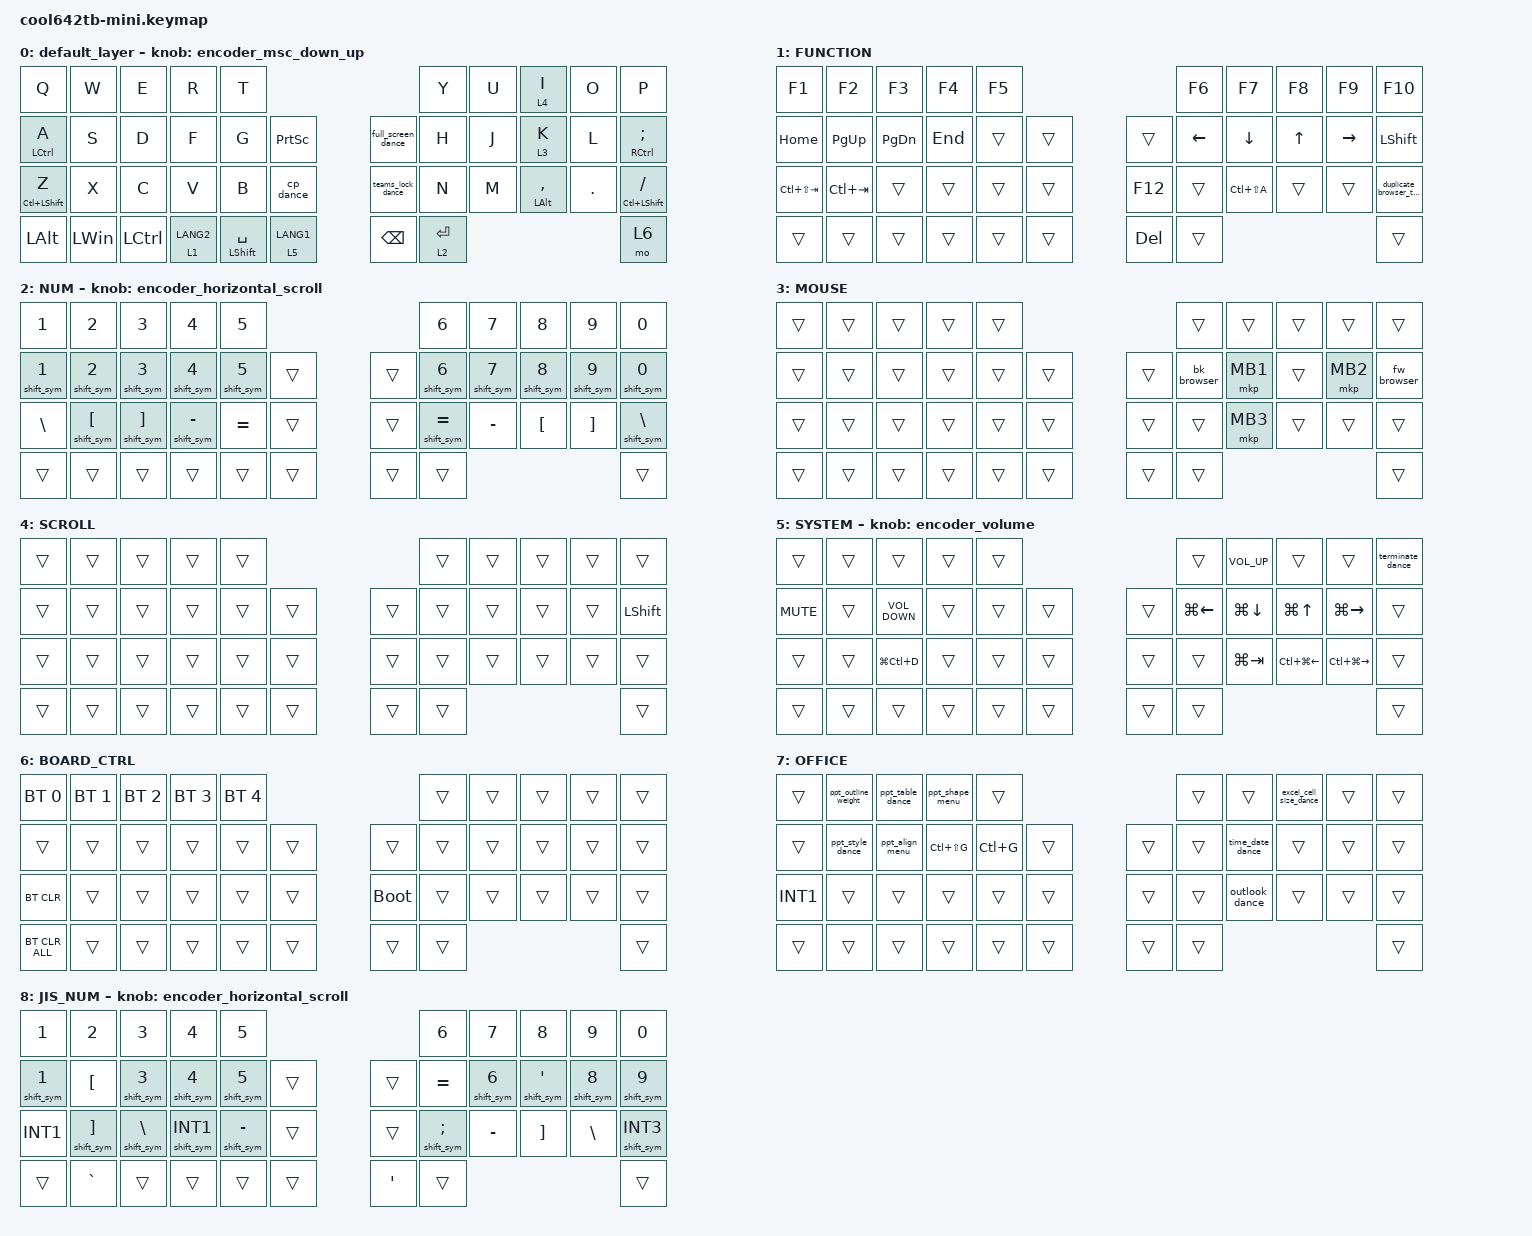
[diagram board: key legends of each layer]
#define ZMK_POINTING_DEFAULT_SCRL_VAL 80

#include <behaviors.dtsi>
#include <dt-bindings/zmk/bt.h>
#include <dt-bindings/zmk/keys.h>
#include <dt-bindings/zmk/pointing.h>

&mt {
    flavor = "balanced";
    tapping-term-ms = <180>;
};

&lt {
    flavor = "hold-preferred";
    tapping-term-ms = <180>;
};

/ {
    combos {
        compatible = "zmk,combos";

        grave {
            bindings = <&kp GRAVE>;
            key-positions = <8 9>;
        };

        single_quote {
            bindings = <&kp SQT>;
            key-positions = <20 21>;
        };

        esc {
            bindings = <&kp ESC>;
            key-positions = <32 33>;
        };

        shift_tab {
            bindings = <&kp LS(TAB)>;
            key-positions = <2 3>;
            timeout-ms = <30>;
            require-prior-idle-ms = <200>;
        };

        quit {
            bindings = <&sys_window_terminate>;
            key-positions = <0 9>;
        };

        tab {
            bindings = <&kp TAB>;
            key-positions = <1 2>;
        };

        modify {
            bindings = <&mo 7>;
            key-positions = <37 41>;
            timeout-ms = <150>;
        };

        jis_num {
            bindings = <&mo 8>;
            key-positions = <39 41>;
            timeout-ms = <150>;
        };
    };

    macros {
        shift_sym: shift_sym {
            compatible = "zmk,behavior-macro-one-param";
            #binding-cells = <1>;
            wait-ms = <50>;
            tap-ms = <50>;
            label = "SHIFT_SYM";
            bindings
                = <&macro_press &kp LSHFT>
                , <&macro_param_1to1>
                , <&macro_tap &kp MACRO_PLACEHOLDER>
                , <&macro_release &kp LSHFT>;
        };

        duplicate_browser_tab: duplicate_browser_tab {
            compatible = "zmk,behavior-macro";
            #binding-cells = <0>;
            bindings =
                <&macro_press>,
                <&kp LALT>,
                <&macro_press>,
                <&kp D>,
                <&macro_release>,
                <&kp D>,
                <&macro_press>,
                <&kp ENTER>,
                <&macro_release>,
                <&kp ENTER>,
                <&macro_release>,
                <&kp LALT>;

            label = "DUPLICATE_BROWSER_TAB";
            tap-ms = <100>;
        };

        bk_browser: bk_browser {
            compatible = "zmk,behavior-macro";
            #binding-cells = <0>;
            bindings =
                <&macro_press>,
                <&kp LALT>,
                <&macro_press>,
                <&kp LEFT_ARROW>,
                <&macro_release>,
                <&kp LEFT_ARROW>,
                <&macro_release>,
                <&kp LALT>;

            label = "BK_BROWSER";
            tap-ms = <100>;
        };

        fw_browser: fw_browser {
            compatible = "zmk,behavior-macro";
            #binding-cells = <0>;
            bindings =
                <&macro_press>,
                <&kp LALT>,
                <&macro_press>,
                <&kp RIGHT_ARROW>,
                <&macro_release>,
                <&kp RIGHT_ARROW>,
                <&macro_release>,
                <&kp LALT>;

            label = "FW_BROWSER";
            tap-ms = <100>;
        };

        rdp_fullscreen: rdp_fullscreen {
            compatible = "zmk,behavior-macro";
            #binding-cells = <0>;
            bindings =
                <&macro_press>,
                <&kp LALT>,
                <&macro_press>,
                <&kp LCTRL>,
                <&macro_press>,
                <&kp HOME>,
                <&macro_release>,
                <&kp HOME>,
                <&macro_release>,
                <&kp LCTRL>,
                <&macro_release>,
                <&kp LALT>;

            label = "RDP_FULLSCREEN";
            tap-ms = <100>;
        };

        cp_path_open: cp_path_open {
            compatible = "zmk,behavior-macro";
            #binding-cells = <0>;
            bindings
                = <&mkp MB1 &mkp MB1 &mkp MB1 &kp LC(C)>
                , <&macro_wait_time 400>
                , <&kp LG(R)>
                , <&macro_wait_time 500>
                , <&kp LC(V)>
                , <&macro_wait_time 100>
                , <&kp ENTER>;

            label = "CP_PATH_OPEN";
            wait-ms = <40>;
            tap-ms = <40>;
        };

        cp_line: cp_line {
            compatible = "zmk,behavior-macro";
            #binding-cells = <0>;
            bindings = <&mkp MB1 &mkp MB1 &mkp MB1 &kp LC(C)>;
            label = "CP_LINE";
        };

        cp_word: cp_word {
            compatible = "zmk,behavior-macro";
            #binding-cells = <0>;
            bindings = <&mkp MB1 &mkp MB1 &kp LC(C)>;
            label = "CP_WORD";
        };

        sys_terminate_rdp: sys_terminate {
            compatible = "zmk,behavior-macro";
            #binding-cells = <0>;
            bindings =
                <&macro_press>,
                <&kp LALT>,
                <&macro_press>,
                <&kp LCTRL>,
                <&macro_press>,
                <&kp END>,
                <&macro_release>,
                <&kp END>,
                <&macro_release>,
                <&kp LCTRL>,
                <&macro_release>,
                <&kp LALT>;

            label = "SYS_TERMINATE";
            tap-ms = <100>;
        };

        sys_window_terminate: sys_window_terminate {
            compatible = "zmk,behavior-macro";
            #binding-cells = <0>;
            bindings =
                <&macro_press>,
                <&kp LALT>,
                <&macro_press>,
                <&kp F4>,
                <&macro_release>,
                <&kp F4>,
                <&macro_release>,
                <&kp LALT>;

            label = "SYS_WINDOW_TERMINATE";
            tap-ms = <100>;
        };

        ppt_align_menu: ppt_align_menu {
            compatible = "zmk,behavior-macro";
            #binding-cells = <0>;
            bindings =
                <&macro_press>,
                <&kp LALT>,
                <&macro_tap>,
                <&kp H>,
                <&macro_tap>,
                <&kp G>,
                <&macro_tap>,
                <&kp A>,
                <&macro_release>,
                <&kp LALT>;

            label = "PPT_ALIGN_MENU";
            tap-ms = <100>;
        };

        ppt_outline_menu: ppt_outline_menu {
            compatible = "zmk,behavior-macro";
            #binding-cells = <0>;
            bindings =
                <&macro_press>,
                <&kp LALT>,
                <&macro_tap>,
                <&kp H>,
                <&macro_tap>,
                <&kp S>,
                <&macro_tap>,
                <&kp O>,
                <&macro_release>,
                <&kp LALT>;

            label = "PPT_OUTLINE_MENU";
            tap-ms = <100>;
        };

        ppt_fill_menu: ppt_fill_menu {
            compatible = "zmk,behavior-macro";
            #binding-cells = <0>;
            bindings =
                <&macro_press>,
                <&kp LALT>,
                <&macro_tap>,
                <&kp H>,
                <&macro_tap>,
                <&kp S>,
                <&macro_tap>,
                <&kp F>,
                <&macro_release>,
                <&kp LALT>;

            label = "PPT_FILL_MENU";
            tap-ms = <100>;
        };

        ppt_outline_weight: ppt_outline_weight {
            compatible = "zmk,behavior-macro";
            #binding-cells = <0>;
            bindings =
                <&macro_press>,
                <&kp LALT>,
                <&macro_tap>,
                <&kp H>,
                <&macro_tap>,
                <&kp S>,
                <&macro_tap>,
                <&kp O>,
                <&macro_tap>,
                <&kp W>,
                <&macro_release>,
                <&kp LALT>;

            label = "PPT_OUTLINE_WEIGHT";
            tap-ms = <100>;
        };

        ppt_table_dist_rows: ppt_table_dist_rows {
            compatible = "zmk,behavior-macro";
            #binding-cells = <0>;
            bindings =
                <&macro_press>,
                <&kp LALT>,
                <&macro_tap>,
                <&kp J>,
                <&macro_tap>,
                <&kp L>,
                <&macro_tap>,
                <&kp U>,
                <&macro_tap>,
                <&kp R>,
                <&macro_release>,
                <&kp LALT>;

            label = "PPT_TABLE_DIST_ROWS";
            tap-ms = <100>;
        };

        ppt_table_dist_cols: ppt_table_dist_cols {
            compatible = "zmk,behavior-macro";
            #binding-cells = <0>;
            bindings =
                <&macro_press>,
                <&kp LALT>,
                <&macro_tap>,
                <&kp J>,
                <&macro_tap>,
                <&kp L>,
                <&macro_tap>,
                <&kp U>,
                <&macro_tap>,
                <&kp C>,
                <&macro_release>,
                <&kp LALT>;

            label = "PPT_TABLE_DIST_COLS";
            tap-ms = <100>;
        };

        ppt_shape_menu: ppt_shape_menu {
            compatible = "zmk,behavior-macro";
            #binding-cells = <0>;
            bindings =
                <&macro_press>,
                <&kp LALT>,
                <&macro_tap>,
                <&kp H>,
                <&macro_tap>,
                <&kp S>,
                <&macro_tap>,
                <&kp H>,
                <&macro_release>,
                <&kp LALT>;

            label = "PPT_SHAPE_MENU";
            tap-ms = <100>;
        };

        excel_col_width_auto: excel_col_width_auto {
            compatible = "zmk,behavior-macro";
            #binding-cells = <0>;
            bindings =
                <&macro_press>,
                <&kp LALT>,
                <&macro_tap>,
                <&kp H>,
                <&macro_tap>,
                <&kp O>,
                <&macro_tap>,
                <&kp A>,
                <&macro_release>,
                <&kp LALT>;

            label = "EXCEL_COL_WIDTH_AUTO";
            tap-ms = <100>;
        };

        excel_row_height_auto: excel_row_height_auto {
            compatible = "zmk,behavior-macro";
            #binding-cells = <0>;
            bindings =
                <&macro_press>,
                <&kp LALT>,
                <&macro_tap>,
                <&kp H>,
                <&macro_tap>,
                <&kp O>,
                <&macro_tap>,
                <&kp I>,
                <&macro_release>,
                <&kp LALT>;

            label = "EXCEL_ROW_HEIGHT_AUTO";
            tap-ms = <100>;
        };
    };

    behaviors {
        encoder_msc_down_up: encoder_msc_down_up {
            compatible = "zmk,behavior-sensor-rotate";
            label = "ENCODER_MSC_DOWN_UP";
            #sensor-binding-cells = <0>;
            bindings = <&msc SCRL_UP>, <&msc SCRL_DOWN>;
            tap-ms = <20>;
        };

        encoder_horizontal_scroll: encoder_horizontal_scroll {
            compatible = "zmk,behavior-sensor-rotate";
            label = "ENCODER_HORIZONTAL_SCROLL";
            #sensor-binding-cells = <0>;
            bindings = <&msc SCRL_LEFT>, <&msc SCRL_RIGHT>;
            tap-ms = <20>;
        };

        encoder_volume: encoder_volume {
            compatible = "zmk,behavior-sensor-rotate";
            label = "ENCODER_VOLUME";
            #sensor-binding-cells = <0>;
            bindings = <&kp C_VOLUME_UP>, <&kp C_VOLUME_DOWN>;
            tap-ms = <20>;
        };

        cp_dance: cp_dance {
            compatible = "zmk,behavior-tap-dance";
            label = "CP_DANCE";
            #binding-cells = <0>;
            tapping-term-ms = <500>;
            bindings = <&cp_word>, <&cp_line>, <&cp_path_open>;
        };

        teams_lock_dance: teams_lock_dance {
            compatible = "zmk,behavior-tap-dance";
            label = "TEAMS_LOCK_DANCE";
            #binding-cells = <0>;
            tapping-term-ms = <500>;
            bindings =
                <&kp LC(LS(X))>,
                <&kp LC(LS(M))>,
                <&kp LG(L)>;
        };

        mod_mt: mod_mt {
            compatible = "zmk,behavior-hold-tap";
            label = "MOD_MT";
            bindings = <&kp>, <&kp>;

            #binding-cells = <2>;
            flavor = "balanced";
            tapping-term-ms = <200>;
            require-prior-idle-ms = <100>;
        };

        mod_mt_left: mod_mt_left {
            compatible = "zmk,behavior-hold-tap";
            label = "MOD_MT_LEFT";
            bindings = <&kp>, <&kp>;

            #binding-cells = <2>;
            flavor = "balanced";
            tapping-term-ms = <200>;
            require-prior-idle-ms = <100>;
            hold-trigger-key-positions = <5 6 7 8 9 16 17 18 19 20 21 28 29 30 31 32 33 40 41 42>;
            hold-trigger-on-release;
        };

        a_mt: a_mt {
            compatible = "zmk,behavior-hold-tap";
            label = "A_MT";
            bindings = <&kp>, <&kp>;

            #binding-cells = <2>;
            flavor = "balanced";
            tapping-term-ms = <2147483647>;
            quick-tap-ms = <175>;
            require-prior-idle-ms = <150>;
            hold-trigger-key-positions = <5 6 7 8 9 16 17 18 19 20 21 28 29 30 31 32 33 40 41 42>;
            hold-trigger-on-release;
        };

        tap_pref_lt: tap_pref_lt {
            compatible = "zmk,behavior-hold-tap";
            label = "TAP_PREF_LT";
            bindings = <&mo>, <&kp>;

            #binding-cells = <2>;
            tapping-term-ms = <225>;
            flavor = "balanced";
        };

        full_screen_dance: full_screen_dance {
            compatible = "zmk,behavior-tap-dance";
            label = "FULL_SCREEN_DANCE";
            #binding-cells = <0>;
            tapping-term-ms = <500>;
            bindings = <&kp F11>, <&rdp_fullscreen>;
        };

        hold_pref_mt: hold_pref_mt {
            compatible = "zmk,behavior-hold-tap";
            label = "HOLD_PREF_MT";
            bindings = <&kp>, <&kp>;

            #binding-cells = <2>;
            flavor = "hold-preferred";
            tapping-term-ms = <185>;
        };

        terminate_dance: terminate_dance {
            compatible = "zmk,behavior-tap-dance";
            label = "TERMINATE_DANCE";
            #binding-cells = <0>;
            tapping-term-ms = <500>;
            bindings = <&kp LA(LC(DEL))>, <&sys_terminate_rdp>, <&cp_path_open>;
        };

        ppt_style_dance: ppt_style_dance {
            compatible = "zmk,behavior-tap-dance";
            label = "PPT_STYLE_DANCE";
            #binding-cells = <0>;
            tapping-term-ms = <500>;
            bindings = <&ppt_outline_menu>, <&ppt_fill_menu>;
        };

        ppt_table_dance: ppt_table_dance {
            compatible = "zmk,behavior-tap-dance";
            label = "PPT_TABLE_DANCE";
            #binding-cells = <0>;
            tapping-term-ms = <500>;
            bindings = <&ppt_table_dist_cols>, <&ppt_table_dist_rows>;
        };

        excel_cell_size_dance: excel_cell_size_dance {
            compatible = "zmk,behavior-tap-dance";
            label = "EXCEL_CELL_SIZE_DANCE";
            #binding-cells = <0>;
            tapping-term-ms = <500>;
            bindings = <&excel_col_width_auto>, <&excel_row_height_auto>;
        };

        time_date_dance: time_date_dance {
            compatible = "zmk,behavior-tap-dance";
            label = "TIME_DATE_DANCE";
            #binding-cells = <0>;
            tapping-term-ms = <500>;
            bindings = <&kp LC(LS(SEMI))>, <&kp LC(SEMI)>;
        };

        outlook_dance: outlook_dance {
            compatible = "zmk,behavior-tap-dance";
            label = "OUTLOOK_DANCE";
            #binding-cells = <0>;
            tapping-term-ms = <500>;
            bindings = <&kp LC(N1)>, <&kp LC(N2)>, <&kp LC(N3)>;
        };
    };

    keymap {
        compatible = "zmk,keymap";

        default_layer {
            bindings = <
&kp Q                          &kp W         &kp E       &kp R        &kp T                                                               &kp Y        &kp U                    &tap_pref_lt 4 I         &kp O    &kp P
&a_mt LCTRL A                  &kp S         &kp D       &kp F        &kp G                       &kp PRINTSCREEN      &full_screen_dance  &kp H        &kp J                    &tap_pref_lt 3 K         &kp L    &mod_mt RCTRL SEMI
&mod_mt_left LC(LEFT_SHIFT) Z  &kp X         &kp C       &kp V        &kp B                       &cp_dance            &teams_lock_dance  &kp N        &kp M                    &mod_mt LALT COMMA       &kp DOT  &mod_mt LC(LEFT_SHIFT) SLASH
&kp LALT                       &kp LEFT_WIN  &kp LCTRL  &lt 1 LANG2  &hold_pref_mt LSHIFT SPACE  &lt 5 LANG1          &kp BACKSPACE       &lt 2 ENTER                                                             &mo 6
            >;

            sensor-bindings = <&encoder_msc_down_up>;
        };

        FUNCTION {
            bindings = <
&kp F1           &kp F2       &kp F3         &kp F4   &kp F5                       &kp F6          &kp F7          &kp F8        &kp F9           &kp F10
&kp HOME         &kp PAGE_UP  &kp PAGE_DOWN  &kp END  &trans  &trans      &trans   &kp LEFT_ARROW  &kp DOWN_ARROW  &kp UP_ARROW  &kp RIGHT_ARROW  &kp LEFT_SHIFT
&kp LC(LS(TAB))  &kp LC(TAB)  &trans         &trans   &trans  &trans      &kp F12  &trans          &kp LC(LS(A))   &trans        &trans           &duplicate_browser_tab
&trans           &trans       &trans         &trans   &trans  &trans      &kp DEL  &trans                                                         &trans
            >;
        };

        NUM {
            sensor-bindings = <&encoder_horizontal_scroll>;
            bindings = <
&kp N1    &kp N2    &kp NUMBER_3  &kp NUMBER_4  &kp N5                         &kp NUMBER_6  &kp N7     &kp N8     &kp N9    &kp N0
&shift_sym N1  &shift_sym N2  &shift_sym N3  &shift_sym N4  &shift_sym N5  &trans      &trans  &shift_sym N6  &shift_sym N7  &shift_sym N8  &shift_sym N9  &shift_sym N0
&kp BSLH  &shift_sym LBKT  &shift_sym RBKT  &shift_sym MINUS  &kp EQUAL  &trans      &trans  &shift_sym EQUAL  &kp MINUS  &kp LBKT   &kp RBKT  &shift_sym BSLH
&trans    &trans    &trans        &trans        &trans     &trans      &trans  &trans                                        &trans
            >;
        };

        MOUSE {
            bindings = <
&trans  &trans  &trans  &trans  &trans                      &trans       &trans    &trans  &trans    &trans
&trans  &trans  &trans  &trans  &trans  &trans      &trans  &bk_browser  &mkp MB1  &trans  &mkp MB2  &fw_browser
&trans  &trans  &trans  &trans  &trans  &trans      &trans  &trans       &mkp MB3  &trans  &trans    &trans
&trans  &trans  &trans  &trans  &trans  &trans      &trans  &trans                                   &trans
            >;
        };

        SCROLL {
            bindings = <
&trans  &trans  &trans  &trans  &trans                      &trans  &trans  &trans  &trans  &trans
&trans  &trans  &trans  &trans  &trans  &trans      &trans  &trans  &trans  &trans  &trans  &kp LEFT_SHIFT
&trans  &trans  &trans  &trans  &trans  &trans      &trans  &trans  &trans  &trans  &trans  &trans
&trans  &trans  &trans  &trans  &trans  &trans      &trans  &trans                          &trans
            >;
        };

        SYSTEM {
            sensor-bindings = <&encoder_volume>;
            bindings = <
&trans      &trans  &trans             &trans  &trans                      &trans              &kp C_VOLUME_UP     &trans                  &trans                   &terminate_dance
&kp C_MUTE  &trans  &kp C_VOLUME_DOWN  &trans  &trans  &trans      &trans  &kp LG(LEFT_ARROW)  &kp LG(DOWN_ARROW)  &kp LG(UP_ARROW)        &kp LG(RIGHT_ARROW)      &trans
&trans      &trans  &kp LG(LC(D))      &trans  &trans  &trans      &trans  &trans              &kp LG(TAB)         &kp LC(LG(LEFT_ARROW))  &kp LC(LG(RIGHT_ARROW))  &trans
&trans      &trans  &trans             &trans  &trans  &trans      &trans  &trans                                                                                   &trans
            >;
        };

        BOARD_CTRL {
            bindings = <
&bt BT_SEL 0    &bt BT_SEL 1  &bt BT_SEL 2  &bt BT_SEL 3  &bt BT_SEL 4                           &trans  &trans  &trans  &trans  &trans
&trans          &trans        &trans        &trans        &trans        &trans      &trans       &trans  &trans  &trans  &trans  &trans
&bt BT_CLR      &trans        &trans        &trans        &trans        &trans      &bootloader  &trans  &trans  &trans  &trans  &trans
&bt BT_CLR_ALL  &trans        &trans        &trans        &trans        &trans      &trans       &trans                          &trans
            >;
        };

        OFFICE {
            bindings = <
&trans  &ppt_outline_weight  &ppt_table_dance  &ppt_shape_menu  &trans                         &trans  &trans            &excel_cell_size_dance  &trans  &trans
&trans  &ppt_style_dance     &ppt_align_menu   &kp LC(LS(G))    &kp LC(G)  &trans      &trans  &trans  &time_date_dance  &trans                  &trans  &trans
&kp INT1  &trans               &trans            &trans           &trans     &trans      &trans  &trans  &outlook_dance    &trans                  &trans  &trans
&trans  &trans               &trans            &trans           &trans     &trans      &trans  &trans                                                    &trans
            >;
        };

        JIS_NUM {
            sensor-bindings = <&encoder_horizontal_scroll>;
            bindings = <
&kp N1      &kp N2      &kp NUMBER_3  &kp NUMBER_4  &kp N5                           &kp NUMBER_6  &kp N7     &kp N8     &kp N9    &kp N0
&shift_sym N1  &kp LBKT    &shift_sym N3    &shift_sym N4    &shift_sym N5  &trans      &trans   &kp EQUAL     &shift_sym N6 &shift_sym SQT  &shift_sym N8  &shift_sym N9
&kp INT1    &shift_sym RBKT  &shift_sym BSLH  &shift_sym INT1  &shift_sym MINUS  &trans      &trans  &shift_sym SEMI  &kp MINUS  &kp RBKT  &kp BSLH  &shift_sym INT3
&trans      &kp GRAVE    &trans        &trans        &trans     &trans      &kp SQT   &trans                                        &trans
            >;
        };
    };
};
